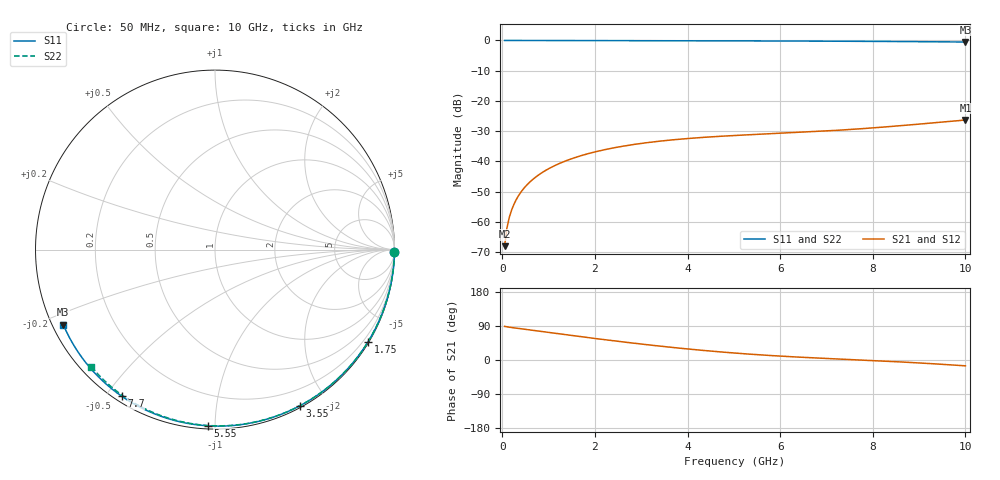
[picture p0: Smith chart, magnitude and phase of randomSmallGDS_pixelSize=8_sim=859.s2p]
! freq	dB(S11)	phase(S11)	dB(S12)	phase(S12)
!  dB(S21)	phase(S21)	dB(S22)	phase(S22)
!S-par simulation data
#  GHz  S  DB  R 50
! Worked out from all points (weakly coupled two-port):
!   200 points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, 50 MHz to 10 GHz, reference 50 ohm
!   highest |S21| = -26.30 dB at 10 GHz (marker M1); lowest = -68.0 dB at 50 MHz (marker M2)
!   lowest |S11| = -0.5 dB at 10 GHz (marker M3), VSWR 34.03, Z = 1.55 - j11.7 ohm
!   |S11| at or under -10 dB: nowhere
!   |S22| runs from -0.5 to 0.0 dB; largest |S21 - S12| = 0
!   S11 on the Smith chart (normalised r, x): 50 MHz: open; 1.75 GHz: 0.03, -3.59; 3.55 GHz: 0.02, -1.68; 5.55 GHz: 0.02, -0.96; 7.7 GHz: 0.02, -0.55; 10 GHz: 0.03, -0.23
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0.05  -0.00 -0.9  -68.02 88.7  -68.02 88.7  -0.00 -0.8
0.1  -0.00 -1.8  -62.04 87.5  -62.04 87.5  -0.00 -1.6
0.15  -0.00 -2.7  -58.58 86.5  -58.58 86.5  -0.00 -2.4
0.2  -0.00 -3.6  -56.12 85.7  -56.12 85.7  -0.00 -3.2
0.25  -0.00 -4.5  -54.22 84.9  -54.22 84.9  -0.00 -4.0
0.35  -0.00 -6.3  -51.34 83.3  -51.34 83.3  -0.00 -5.6
0.5  -0.01 -9.0  -48.29 80.9  -48.29 80.9  -0.01 -8.0
0.7  -0.01 -12.6  -45.42 77.7  -45.42 77.7  -0.01 -11.2
1  -0.02 -18.0  -42.41 72.8  -42.41 72.8  -0.02 -15.9
1.35  -0.03 -24.2  -39.93 67.2  -39.93 67.2  -0.03 -21.4
1.75  -0.04 -31.2  -37.87 60.8  -37.87 60.8  -0.04 -27.6
2.5  -0.06 -44.0  -35.24 49.3  -35.24 49.3  -0.05 -39.1
3.4  -0.08 -59.0  -33.30 36.7  -33.30 36.7  -0.07 -52.5
3.55  -0.08 -61.4  -33.05 34.7  -33.05 34.7  -0.07 -54.7
4.3  -0.11 -73.3  -32.09 25.7  -32.09 25.7  -0.09 -65.3
5.05  -0.13 -84.8  -31.40 18.0  -31.40 18.0  -0.12 -75.7
5.55  -0.15 -92.2  -31.02 13.7  -31.02 13.7  -0.14 -82.4
6.7  -0.21 -108.7  -30.17 5.8  -30.17 5.8  -0.19 -97.2
7.7  -0.28 -122.5  -29.24 0.2  -29.24 0.2  -0.25 -109.5
8.35  -0.33 -131.3  -28.49 -3.5  -28.49 -3.5  -0.30 -117.2
9.2  -0.42 -142.8  -27.39 -9.2  -27.39 -9.2  -0.37 -127.2
10  -0.51 -153.7  -26.30 -15.4  -26.30 -15.4  -0.46 -136.5
